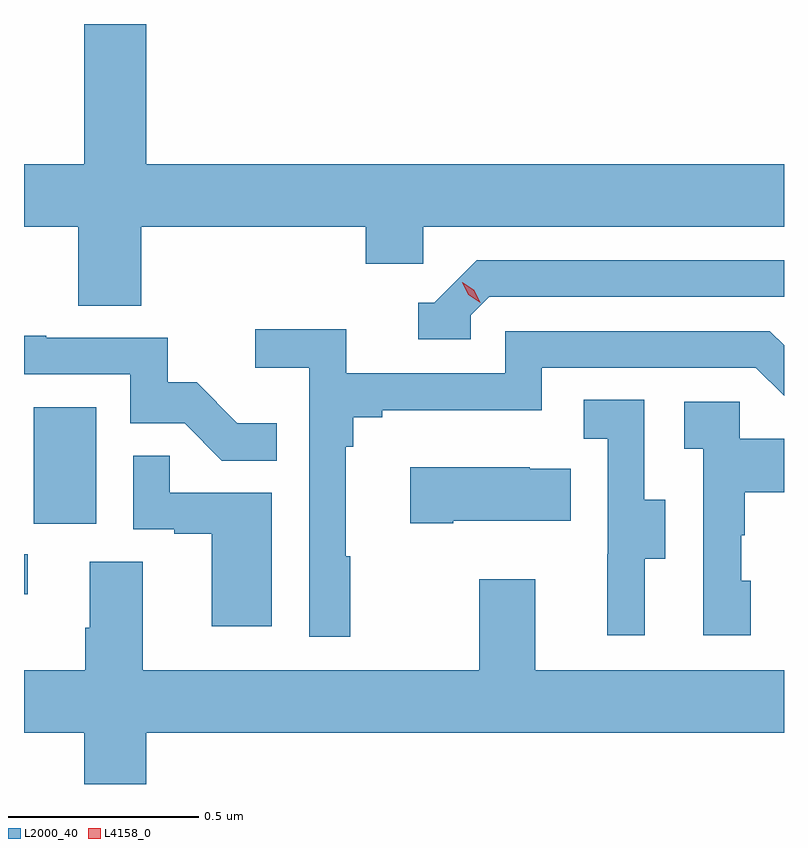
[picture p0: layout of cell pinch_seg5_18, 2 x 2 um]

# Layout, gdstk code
import gdstk
lib = gdstk.Library(unit=1e-6, precision=1e-09)
def R(c, l, rs):  # rectangles x0, y0, x1, y1
    for r in rs: c.add(gdstk.rectangle(r[:2], r[2:], *l))
def P(c, l, *ps):  # polygons
    for p in ps: c.add(gdstk.Polygon(p, *l))
L2000_40 = (2000, 40)
L4158_0 = (4158, 0)

pinch_seg5_18 = lib.new_cell('pinch_seg5_18')
R(pinch_seg5_18, L2000_40, [(1123.89,894.42,1123.9,894.525), (1123.916,894.606,1124.08,894.913)])
P(pinch_seg5_18, L2000_40, [(1124.198,895.388),(1124.789,895.388),(1124.789,895.29),(1124.94,895.29),(1124.94,895.388),(1125.89,895.388),(1125.89,895.552),(1124.212,895.552),(1124.212,895.921),(1124.048,895.921),(1124.048,895.552),(1123.89,895.552),(1123.89,895.388),(1124.033,895.388),(1124.033,895.18),(1124.198,895.18)],
  [(1125.066,895.155),(1125.114,895.203),(1125.89,895.203),(1125.89,895.299),(1125.081,895.299),(1124.97,895.188),(1124.927,895.188),(1124.927,895.092),(1125.066,895.092)],
  [(1124.749,894.521),(1124.737,894.521),(1124.737,894.809),(1124.756,894.809),(1124.756,894.886),(1124.833,894.886),(1124.833,894.905),(1125.252,894.905),(1125.252,895.017),(1125.816,895.017),(1125.89,894.943),(1125.89,895.076),(1125.853,895.113),(1125.156,895.113),(1125.156,895.002),(1124.738,895.002),(1124.738,895.118),(1124.499,895.118),(1124.499,895.016),(1124.64,895.016),(1124.64,894.309),(1124.749,894.309)],
  [(1124.555,894.871),(1124.451,894.871),(1124.344,894.978),(1124.268,894.978),(1124.268,895.095),(1123.949,895.095),(1123.949,895.1),(1123.89,895.1),(1123.89,894.999),(1124.169,894.999),(1124.169,894.87),(1124.313,894.87),(1124.411,894.772),(1124.555,894.772)],
  [(1125.523,894.514),(1125.577,894.514),(1125.577,894.669),(1125.522,894.669),(1125.522,894.932),(1125.363,894.932),(1125.363,894.829),(1125.426,894.829),(1125.426,894.525),(1125.425,894.525),(1125.425,894.312),(1125.523,894.312)],
  [(1125.802,894.456),(1125.777,894.456),(1125.777,894.575),(1125.787,894.575),(1125.787,894.689),(1125.89,894.689),(1125.89,894.829),(1125.774,894.829),(1125.774,894.927),(1125.627,894.927),(1125.627,894.803),(1125.678,894.803),(1125.678,894.312),(1125.802,894.312)],
  [(1124.542,894.687),(1124.273,894.687),(1124.273,894.785),(1124.178,894.785),(1124.178,894.591),(1124.285,894.591),(1124.285,894.579),(1124.384,894.579),(1124.384,894.336),(1124.542,894.336)],
  [(1125.019,894.614),(1125.329,894.614),(1125.329,894.751),(1125.221,894.751),(1125.221,894.754),(1124.907,894.754),(1124.907,894.607),(1125.019,894.607)],
  [(1124.212,894.056),(1125.89,894.056),(1125.89,894.22),(1125.235,894.22),(1125.235,894.46),(1125.088,894.46),(1125.088,894.22),(1124.203,894.22),(1124.203,894.506),(1124.063,894.506),(1124.063,894.332),(1124.051,894.332),(1124.051,894.22),(1123.89,894.22),(1123.89,894.056),(1124.048,894.056),(1124.048,893.921),(1124.212,893.921)])
P(pinch_seg5_18, L4158_0, [(1125.09,895.188),(1125.059,895.208),(1125.043,895.241),(1125.043,895.242),(1125.043,895.242),(1125.074,895.222),(1125.09,895.189),(1125.09,895.188)])

lib.write_gds('pinch_seg5_18.gds')
